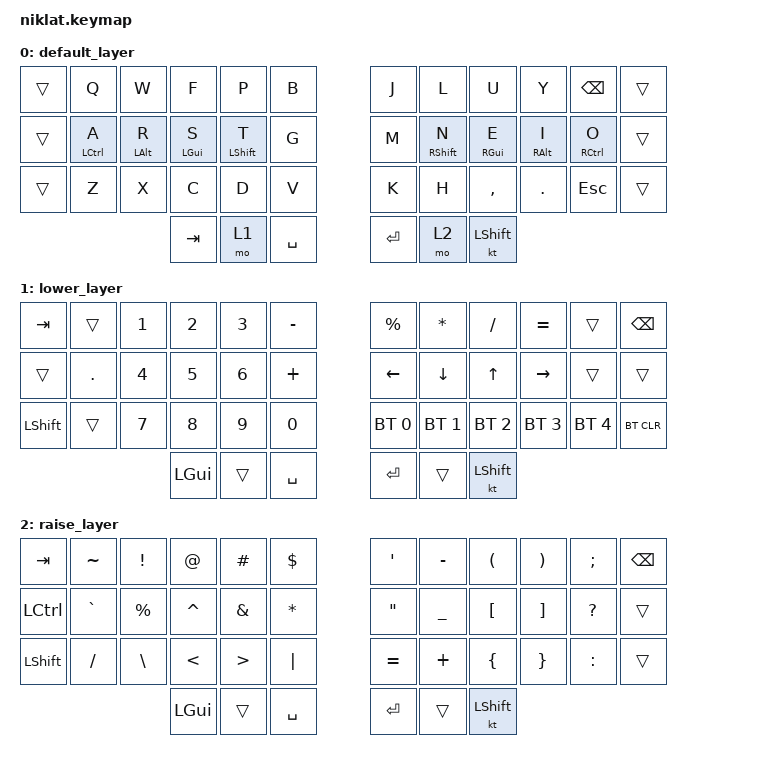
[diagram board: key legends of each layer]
/*
 * Copyright (c) 2020 The ZMK Contributors
 *
 * SPDX-License-Identifier: MIT
 */

#include <behaviors.dtsi>
#include <dt-bindings/zmk/keys.h>
#include <dt-bindings/zmk/bt.h>

/ {

	behaviors {
		hm: homerow_mods {
			compatible = "zmk,behavior-hold-tap";
			label = "HOMEROW_MODS";
			#binding-cells = <2>;
			tapping-term-ms = <200>;
			quick-tap-ms = <0>;
			flavor = "tap-preferred";
			bindings = <&kp>, <&kp>;
		};
	};

        keymap {
                compatible = "zmk,keymap";

                default_layer {
// -----------------------------------------------------------------------------------------
// |     |  Q  |  W  |  F  |  P  |  B  |   |  J  |  L   |  U  |  Y  |  BSPC |    |
// |     |  A  |  R  |  S  |  T  |  G  |   |  M  |  N   |  E  |  I  |   O   |    |
// |     |  Z  |  X  |  C  |  D  |  V  |   |  K  |  H   |  ,  |  .  |  ESC  |    |
//                   | TAB | LWR | SPC |   | ENT | RSE  | ALT |
                        bindings = <
   &trans &kp Q       &kp W      &kp F      &kp P        &kp B   &kp J &kp L         &kp U         &kp Y        &kp BSPC       &trans
   &trans &hm LCTRL A &hm LALT R &hm LGUI S &hm LSHIFT T &kp G   &kp M &hm RSHIFT N  &hm RGUI E    &hm RALT I   &hm RCTRL O    &trans
   &trans &kp Z       &kp X      &kp C      &kp D        &kp V   &kp K &kp H         &kp COMMA     &kp DOT      &kp ESC        &trans
                                 &kp TAB &mo 1 &kp SPACE   &kp RET &mo 2 &kt LSHIFT
                        >;
                };
                lower_layer {
// -----------------------------------------------------------------------------------------
// |  TAB |     |  1  |  2  |  3  |  -  |   |  %  |  *  |  /  |  =  |     | BSPC |
// |      |  .  |  4  |  5  |  6  |  +  |   | LFT | DWN |  UP | RGT |     |      |
// | SHFT |     |  7  |  8  |  9  |  0  |   | BT1 | BT2 | BT3 | BT4 | BT5 | BTCLR|
//                    | GUI |     | SPC |   | ENT |     | ALT |
                        bindings = <
   &kp TAB    &trans  &kp N1 &kp N2 &kp N3 &kp MINUS   &kp PRCNT    &kp ASTRK    &kp FSLH     &kp EQUAL    &trans       &kp BSPC
   &trans     &kp DOT &kp N4 &kp N5 &kp N6 &kp PLUS    &kp LEFT     &kp DOWN     &kp UP       &kp RIGHT    &trans       &trans
   &kp LSHFT  &trans  &kp N7 &kp N8 &kp N9 &kp N0      &bt BT_SEL 0 &bt BT_SEL 1 &bt BT_SEL 2 &bt BT_SEL 3 &bt BT_SEL 4 &bt BT_CLR
                            &kp LGUI     &trans       &kp SPACE      &kp RET  &trans   &kt LSHIFT
                        >;
                };

                raise_layer {
// -----------------------------------------------------------------------------------------
// |  TAB |  ~  |  !  |  @  |  #  |  $  |   |  '  |  -  |  (  |  )  |  ;  | BSPC |
// | CTRL |  `  |  %  |  ^  |  &  |  *  |   |  "  |  _  |  [  |  ]  |  ?  |      |
// | SHFT |  /  |  \  |  <  |  >  | "|" |   |  =  |  +  |  {  |  }  |  :  |      |
//                    | GUI |     | SPC |   | ENT |     | ALT |
                        bindings = <
   &kp TAB   &kp TILDE &kp EXCL  &kp AT    &kp HASH &kp DLLR    &kp SQT   &kp MINUS &kp LPAR  &kp RPAR &kp SEMI  &kp BSPC
   &kp LCTRL &kp GRAVE &kp PRCNT &kp CARET &kp AMPS &kp ASTRK   &kp DQT   &kp UNDER &kp LBKT  &kp RBKT &kp QMARK &trans
   &kp LSHFT &kp FSLH  &kp BSLH  &kp LT    &kp GT   &kp PIPE    &kp EQUAL &kp PLUS  &kp LBRC  &kp RBRC &kp COLON &trans
                             &kp LGUI &trans   &kp SPACE   &kp RET   &trans    &kt LSHIFT
                        >;
                };
        };
};
